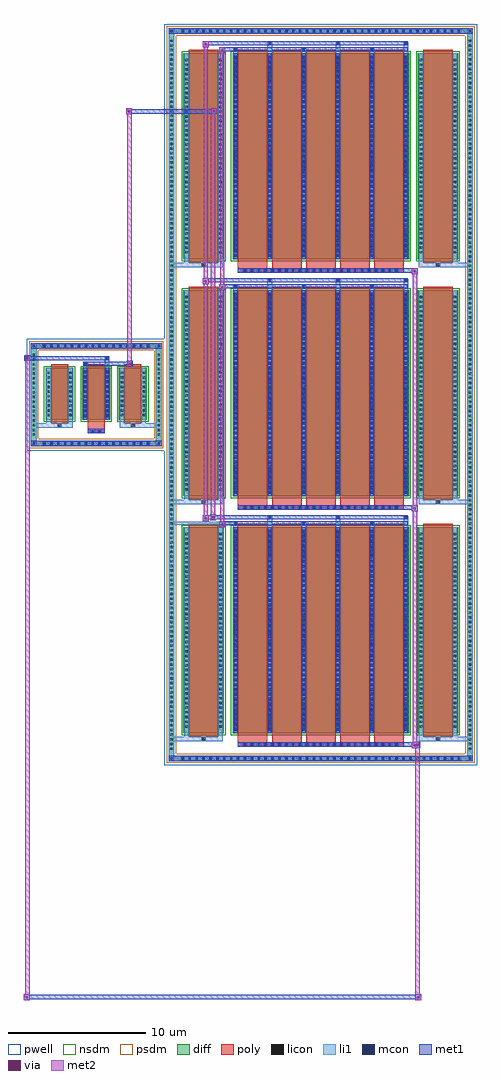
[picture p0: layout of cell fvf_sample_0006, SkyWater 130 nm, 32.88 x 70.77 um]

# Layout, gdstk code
import gdstk
lib = gdstk.Library(unit=1e-6, precision=1e-09)
def R(c, l, rs):  # rectangles x0, y0, x1, y1
    for r in rs: c.add(gdstk.rectangle(r[:2], r[2:], *l))
def A(c, l, x, y, w, h, nx, ny, dx, dy):  # array of equal rectangles
    R(c, l, [(x+i*dx, y+j*dy, x+i*dx+w, y+j*dy+h) for i in range(nx) for j in range(ny)])
def P(c, l, *ps):  # polygons
    for p in ps: c.add(gdstk.Polygon(p, *l))
pwell = (64, 44)
diff = (65, 20)
poly = (66, 20)
licon = (66, 44)
li1 = (67, 20)
mcon = (67, 44)
met1 = (68, 20)
via = (68, 44)
met2 = (69, 20)
nsdm = (93, 44)
psdm = (94, 20)

fvf_sample_0006 = lib.new_cell('fvf_sample_0006')
R(fvf_sample_0006, pwell, [(4.947,-26.883,27.627,26.883), (-5.047,-4.058,5.047,4.058)])
A(fvf_sample_0006, diff, 6.082, -26.573, 0.41, 0.41, 41, 2, 0.5, 52.736)
A(fvf_sample_0006, diff, 5.257, -25.875, 0.41, 0.41, 1, 152, 0, 0.34)
A(fvf_sample_0006, diff, 26.907, -25.875, 0.41, 0.41, 1, 152, 0, 0.34)
A(fvf_sample_0006, diff, 6.327, -24.551, 2.92, 14.942, 1, 3, 0, 17.188)
A(fvf_sample_0006, diff, 9.887, -24.551, 12.8, 14.942, 1, 3, 0, 17.188)
A(fvf_sample_0006, diff, 23.327, -24.551, 2.92, 14.942, 1, 3, 0, 17.188)
A(fvf_sample_0006, diff, -3.955, -3.748, 0.41, 0.41, 16, 2, 0.5, 7.086)
A(fvf_sample_0006, diff, -4.737, -3.095, 0.41, 0.41, 1, 18, 0, 0.34)
A(fvf_sample_0006, diff, 4.327, -3.095, 0.41, 0.41, 1, 18, 0, 0.34)
A(fvf_sample_0006, diff, -3.667, -1.827, 2.018, 3.77, 3, 1, 2.658, 0)
R(fvf_sample_0006, diff, [(6.082,-26.573,26.492,-26.163), (5.257,-25.875,5.667,25.875), (26.907,-25.875,27.317,25.875), (-3.955,-3.748,3.955,-3.338), (-4.737,-3.095,-4.327,3.095), (4.327,-3.095,4.737,3.095), (-3.955,3.338,3.955,3.748), (6.082,26.163,26.492,26.573)])
P(fvf_sample_0006, diff, [(4.737,3.748),(-4.737,3.748),(-4.737,-3.338),(-4.327,-3.338),(-4.327,3.338),(4.327,3.338),(4.327,-3.338),(-4.327,-3.338),(-4.737,-3.338),(-4.737,-3.748),(4.737,-3.748)],
  [(27.317,26.573),(5.257,26.573),(5.257,-26.163),(5.667,-26.163),(5.667,26.163),(26.907,26.163),(26.907,-26.163),(5.667,-26.163),(5.257,-26.163),(5.257,-26.573),(27.317,-26.573)])
A(fvf_sample_0006, poly, 10.277, -25.532, 12.02, 0.33, 1, 3, 0, 17.188)
A(fvf_sample_0006, poly, 10.622, -25.532, 0.33, 0.33, 23, 3, 0.5, 17.188)
A(fvf_sample_0006, poly, 10.277, -25.202, 2.14, 0.401, 5, 3, 2.47, 17.188)
A(fvf_sample_0006, poly, 6.717, -24.801, 2.14, 15.442, 1, 3, 0, 17.188)
A(fvf_sample_0006, poly, 10.277, -24.801, 2.14, 15.442, 5, 3, 2.47, 17.188)
A(fvf_sample_0006, poly, 23.717, -24.801, 2.14, 15.442, 1, 3, 0, 17.188)
A(fvf_sample_0006, poly, -3.277, -2.077, 1.238, 4.27, 3, 1, 2.658, 0)
R(fvf_sample_0006, poly, [(7.622,-25.131,7.952,-24.801), (7.622,-25.131,7.952,-24.801), (24.622,-25.131,24.952,-24.801), (24.622,-25.131,24.952,-24.801), (7.622,-7.943,7.952,-7.613), (7.622,-7.943,7.952,-7.613), (24.622,-7.943,24.952,-7.613), (24.622,-7.943,24.952,-7.613), (-0.619,-2.808,0.619,-2.478), (-0.415,-2.808,-0.085,-2.478), (0.085,-2.808,0.415,-2.478), (-0.619,-2.478,0.619,-2.077), (-2.823,-2.407,-2.493,-2.077), (-2.823,-2.407,-2.493,-2.077), (2.493,-2.407,2.823,-2.077), (2.493,-2.407,2.823,-2.077), (7.622,9.245,7.952,9.575), (7.622,9.245,7.952,9.575), (24.622,9.245,24.952,9.575), (24.622,9.245,24.952,9.575)])
A(fvf_sample_0006, licon, 6.202, -26.453, 0.17, 0.17, 41, 2, 0.5, 52.736)
A(fvf_sample_0006, licon, 5.377, -25.755, 0.17, 0.17, 1, 152, 0, 0.34)
A(fvf_sample_0006, licon, 27.027, -25.755, 0.17, 0.17, 1, 152, 0, 0.34)
A(fvf_sample_0006, licon, 10.702, -25.452, 0.17, 0.17, 23, 3, 0.5, 17.188)
A(fvf_sample_0006, licon, 7.702, -25.051, 0.17, 0.17, 1, 3, 0, 17.188)
A(fvf_sample_0006, licon, 24.702, -25.051, 0.17, 0.17, 1, 3, 0, 17.188)
A(fvf_sample_0006, licon, 6.467, -24.135, 0.17, 0.17, 1, 42, 0, 0.34)
A(fvf_sample_0006, licon, 8.937, -24.135, 0.17, 0.17, 1, 42, 0, 0.34)
A(fvf_sample_0006, licon, 10.027, -24.135, 0.17, 0.17, 6, 42, 2.47, 0.34)
A(fvf_sample_0006, licon, 23.467, -24.135, 0.17, 0.17, 1, 42, 0, 0.34)
A(fvf_sample_0006, licon, 25.937, -24.135, 0.17, 0.17, 1, 42, 0, 0.34)
A(fvf_sample_0006, licon, 6.467, -6.947, 0.17, 0.17, 1, 42, 0, 0.34)
A(fvf_sample_0006, licon, 8.937, -6.947, 0.17, 0.17, 1, 42, 0, 0.34)
A(fvf_sample_0006, licon, 10.027, -6.947, 0.17, 0.17, 6, 42, 2.47, 0.34)
A(fvf_sample_0006, licon, 23.467, -6.947, 0.17, 0.17, 1, 42, 0, 0.34)
A(fvf_sample_0006, licon, 25.937, -6.947, 0.17, 0.17, 1, 42, 0, 0.34)
A(fvf_sample_0006, licon, -3.835, -3.628, 0.17, 0.17, 16, 2, 0.5, 7.086)
A(fvf_sample_0006, licon, -4.617, -2.975, 0.17, 0.17, 1, 18, 0, 0.34)
A(fvf_sample_0006, licon, 4.447, -2.975, 0.17, 0.17, 1, 18, 0, 0.34)
A(fvf_sample_0006, licon, -3.527, -1.557, 0.17, 0.17, 1, 10, 0, 0.34)
A(fvf_sample_0006, licon, -1.959, -1.557, 0.17, 0.17, 1, 10, 0, 0.34)
A(fvf_sample_0006, licon, -0.869, -1.557, 0.17, 0.17, 1, 10, 0, 0.34)
A(fvf_sample_0006, licon, 0.699, -1.557, 0.17, 0.17, 1, 10, 0, 0.34)
A(fvf_sample_0006, licon, 1.789, -1.557, 0.17, 0.17, 1, 10, 0, 0.34)
A(fvf_sample_0006, licon, 3.357, -1.557, 0.17, 0.17, 1, 10, 0, 0.34)
A(fvf_sample_0006, licon, 6.467, 10.241, 0.17, 0.17, 1, 42, 0, 0.34)
A(fvf_sample_0006, licon, 8.937, 10.241, 0.17, 0.17, 1, 42, 0, 0.34)
A(fvf_sample_0006, licon, 10.027, 10.241, 0.17, 0.17, 6, 42, 2.47, 0.34)
A(fvf_sample_0006, licon, 23.467, 10.241, 0.17, 0.17, 1, 42, 0, 0.34)
A(fvf_sample_0006, licon, 25.937, 10.241, 0.17, 0.17, 1, 42, 0, 0.34)
R(fvf_sample_0006, licon, [(-0.335,-2.728,-0.165,-2.558), (0.165,-2.728,0.335,-2.558), (-2.743,-2.327,-2.573,-2.157), (2.573,-2.327,2.743,-2.157)])
A(fvf_sample_0006, li1, 6.122, -26.533, 0.33, 0.33, 41, 2, 0.5, 52.736)
A(fvf_sample_0006, li1, 5.297, -25.835, 0.33, 0.33, 1, 152, 0, 0.34)
A(fvf_sample_0006, li1, 26.947, -25.835, 0.33, 0.33, 1, 152, 0, 0.34)
A(fvf_sample_0006, li1, 10.622, -25.532, 0.33, 0.33, 23, 3, 0.5, 17.188)
A(fvf_sample_0006, li1, 5.257, -25.131, 2.365, 0.33, 1, 3, 0, 17.188)
A(fvf_sample_0006, li1, 6.387, -25.131, 0.33, 0.58, 1, 3, 0, 17.188)
A(fvf_sample_0006, li1, 6.387, -25.131, 1.235, 0.33, 1, 3, 0, 17.188)
A(fvf_sample_0006, li1, 7.622, -25.131, 0.33, 0.33, 1, 3, 0, 17.188)
A(fvf_sample_0006, li1, 7.952, -25.131, 1.235, 0.33, 1, 3, 0, 17.188)
A(fvf_sample_0006, li1, 8.857, -25.131, 0.33, 0.58, 1, 3, 0, 17.188)
A(fvf_sample_0006, li1, 23.387, -25.131, 0.33, 0.58, 1, 3, 0, 17.188)
A(fvf_sample_0006, li1, 23.387, -25.131, 1.235, 0.33, 1, 3, 0, 17.188)
A(fvf_sample_0006, li1, 24.622, -25.131, 0.33, 0.33, 1, 3, 0, 17.188)
A(fvf_sample_0006, li1, 24.622, -25.131, 2.695, 0.33, 1, 3, 0, 17.188)
A(fvf_sample_0006, li1, 24.952, -25.131, 1.235, 0.33, 1, 3, 0, 17.188)
A(fvf_sample_0006, li1, 25.857, -25.131, 0.33, 0.58, 1, 3, 0, 17.188)
A(fvf_sample_0006, li1, 6.387, -24.551, 0.33, 14.942, 1, 3, 0, 17.188)
A(fvf_sample_0006, li1, 8.857, -24.551, 0.33, 14.942, 1, 3, 0, 17.188)
A(fvf_sample_0006, li1, 9.947, -24.551, 0.33, 14.942, 6, 3, 2.47, 17.188)
A(fvf_sample_0006, li1, 23.387, -24.551, 0.33, 14.942, 1, 3, 0, 17.188)
A(fvf_sample_0006, li1, 25.857, -24.551, 0.33, 14.942, 1, 3, 0, 17.188)
A(fvf_sample_0006, li1, 10.027, -24.365, 0.17, 0.17, 6, 41, 2.47, 0.36)
A(fvf_sample_0006, li1, 10.027, -24.365, 0.17, 14.57, 6, 3, 2.47, 17.188)
A(fvf_sample_0006, li1, 6.387, -24.215, 0.33, 0.33, 1, 42, 0, 0.34)
A(fvf_sample_0006, li1, 8.857, -24.215, 0.33, 0.33, 1, 42, 0, 0.34)
A(fvf_sample_0006, li1, 9.947, -24.215, 0.33, 0.33, 6, 42, 2.47, 0.34)
A(fvf_sample_0006, li1, 23.387, -24.215, 0.33, 0.33, 1, 42, 0, 0.34)
A(fvf_sample_0006, li1, 25.857, -24.215, 0.33, 0.33, 1, 42, 0, 0.34)
A(fvf_sample_0006, li1, 9.947, -9.609, 0.33, 0.375, 3, 3, 4.94, 17.188)
A(fvf_sample_0006, li1, 12.417, -9.609, 0.33, 0.805, 3, 3, 4.94, 17.188)
A(fvf_sample_0006, li1, 10.027, -9.404, 0.17, 0.17, 3, 3, 4.94, 17.188)
A(fvf_sample_0006, li1, 12.497, -8.974, 0.17, 0.17, 3, 3, 4.94, 17.188)
A(fvf_sample_0006, li1, 10.027, -7.177, 0.17, 0.17, 6, 41, 2.47, 0.36)
A(fvf_sample_0006, li1, 6.387, -7.027, 0.33, 0.33, 1, 42, 0, 0.34)
A(fvf_sample_0006, li1, 8.857, -7.027, 0.33, 0.33, 1, 42, 0, 0.34)
A(fvf_sample_0006, li1, 9.947, -7.027, 0.33, 0.33, 6, 42, 2.47, 0.34)
A(fvf_sample_0006, li1, 23.387, -7.027, 0.33, 0.33, 1, 42, 0, 0.34)
A(fvf_sample_0006, li1, 25.857, -7.027, 0.33, 0.33, 1, 42, 0, 0.34)
A(fvf_sample_0006, li1, -3.915, -3.708, 0.33, 0.33, 16, 2, 0.5, 7.086)
A(fvf_sample_0006, li1, -4.697, -3.055, 0.33, 0.33, 1, 18, 0, 0.34)
A(fvf_sample_0006, li1, 4.367, -3.055, 0.33, 0.33, 1, 18, 0, 0.34)
A(fvf_sample_0006, li1, -0.869, -1.647, 0.17, 0.17, 1, 10, 0, 0.36)
A(fvf_sample_0006, li1, 0.699, -1.647, 0.17, 0.17, 1, 10, 0, 0.36)
A(fvf_sample_0006, li1, -3.607, -1.637, 0.33, 0.33, 1, 10, 0, 0.34)
A(fvf_sample_0006, li1, -2.039, -1.637, 0.33, 0.33, 1, 10, 0, 0.34)
A(fvf_sample_0006, li1, -0.949, -1.637, 0.33, 0.33, 1, 10, 0, 0.34)
A(fvf_sample_0006, li1, 0.619, -1.637, 0.33, 0.33, 1, 10, 0, 0.34)
A(fvf_sample_0006, li1, 1.709, -1.637, 0.33, 0.33, 1, 10, 0, 0.34)
A(fvf_sample_0006, li1, 3.277, -1.637, 0.33, 0.33, 1, 10, 0, 0.34)
A(fvf_sample_0006, li1, 10.027, 10.011, 0.17, 0.17, 6, 41, 2.47, 0.36)
A(fvf_sample_0006, li1, 6.387, 10.161, 0.33, 0.33, 1, 42, 0, 0.34)
A(fvf_sample_0006, li1, 8.857, 10.161, 0.33, 0.33, 1, 42, 0, 0.34)
A(fvf_sample_0006, li1, 9.947, 10.161, 0.33, 0.33, 6, 42, 2.47, 0.34)
A(fvf_sample_0006, li1, 23.387, 10.161, 0.33, 0.33, 1, 42, 0, 0.34)
A(fvf_sample_0006, li1, 25.857, 10.161, 0.33, 0.33, 1, 42, 0, 0.34)
R(fvf_sample_0006, li1, [(5.257,-26.573,5.667,-26.163), (26.907,-26.573,27.317,-26.163), (6.122,-26.533,26.452,-26.203), (5.377,-26.453,5.547,-26.283), (5.377,-26.453,5.547,-26.283), (27.027,-26.453,27.197,-26.283), (27.027,-26.453,27.197,-26.283), (5.257,-26.163,5.667,26.163), (26.907,-26.163,27.317,26.163), (9.967,-9.464,10.257,-9.174), (5.257,-9.419,9.967,-9.219), (10.027,-9.404,10.197,-9.234), (-4.737,-3.748,-4.327,-3.338), (4.327,-3.748,4.737,-3.338), (-3.915,-3.708,3.915,-3.378), (-4.617,-3.628,-4.447,-3.458), (-4.617,-3.628,-4.447,-3.458), (4.447,-3.628,4.617,-3.458), (4.447,-3.628,4.617,-3.458), (-4.737,-3.338,-4.327,3.338), (4.327,-3.338,4.737,3.338), (-0.415,-2.808,-0.085,-2.478), (0.085,-2.808,0.415,-2.478), (-4.737,-2.407,-2.823,-2.077), (-3.607,-2.407,-2.823,-2.077), (-3.607,-2.407,-3.277,-1.827), (-2.823,-2.407,-2.493,-2.077), (-2.493,-2.407,-1.709,-2.077), (-2.039,-2.407,-1.709,-1.827), (1.709,-2.407,2.493,-2.077), (1.709,-2.407,2.039,-1.827), (2.493,-2.407,2.823,-2.077), (2.493,-2.407,4.737,-2.077), (2.823,-2.407,3.607,-2.077), (3.277,-2.407,3.607,-1.827), (-3.607,-1.827,-3.277,1.943), (-2.039,-1.827,-1.709,1.943), (-0.949,-1.827,-0.619,1.943), (0.619,-1.827,0.949,1.943), (1.709,-1.827,2.039,1.943), (3.277,-1.827,3.607,1.943), (-0.869,-1.647,-0.699,1.763), (0.699,-1.647,0.869,1.763), (-0.949,1.943,-0.619,2.318), (0.619,1.943,0.949,2.748), (-0.869,2.148,-0.699,2.318), (0.699,2.578,0.869,2.748), (-4.737,3.338,-4.327,3.748), (4.327,3.338,4.737,3.748), (-3.915,3.378,3.915,3.708), (-4.617,3.458,-4.447,3.628), (-4.617,3.458,-4.447,3.628), (4.447,3.458,4.617,3.628), (4.447,3.458,4.617,3.628), (5.257,26.163,5.667,26.573), (26.907,26.163,27.317,26.573), (6.122,26.203,26.452,26.533), (5.377,26.283,5.547,26.453), (5.377,26.283,5.547,26.453), (27.027,26.283,27.197,26.453), (27.027,26.283,27.197,26.453)])
A(fvf_sample_0006, mcon, 6.202, -26.453, 0.17, 0.17, 41, 2, 0.5, 52.736)
A(fvf_sample_0006, mcon, 10.702, -25.452, 0.17, 0.17, 23, 3, 0.5, 17.188)
A(fvf_sample_0006, mcon, 10.027, -24.365, 0.17, 0.17, 6, 41, 2.47, 0.36)
A(fvf_sample_0006, mcon, 10.027, -9.404, 0.17, 0.17, 3, 3, 4.94, 17.188)
A(fvf_sample_0006, mcon, 12.497, -8.974, 0.17, 0.17, 3, 3, 4.94, 17.188)
A(fvf_sample_0006, mcon, 10.027, -7.177, 0.17, 0.17, 6, 41, 2.47, 0.36)
A(fvf_sample_0006, mcon, -3.835, -3.628, 0.17, 0.17, 16, 2, 0.5, 7.086)
A(fvf_sample_0006, mcon, -0.869, -1.647, 0.17, 0.17, 1, 10, 0, 0.36)
A(fvf_sample_0006, mcon, 0.699, -1.647, 0.17, 0.17, 1, 10, 0, 0.36)
A(fvf_sample_0006, mcon, 10.027, 10.011, 0.17, 0.17, 6, 41, 2.47, 0.36)
R(fvf_sample_0006, mcon, [(5.377,-26.453,5.547,-26.283), (27.027,-26.453,27.197,-26.283), (10.027,-9.404,10.197,-9.234), (-4.617,-3.628,-4.447,-3.458), (4.447,-3.628,4.617,-3.458), (-0.335,-2.728,-0.165,-2.558), (0.165,-2.728,0.335,-2.558), (-0.869,2.148,-0.699,2.318), (0.699,2.578,0.869,2.748), (-4.617,3.458,-4.447,3.628), (4.447,3.458,4.617,3.628), (5.377,26.283,5.547,26.453), (27.027,26.283,27.197,26.453)])
A(fvf_sample_0006, met1, 6.142, -26.513, 0.29, 0.29, 41, 2, 0.5, 52.736)
A(fvf_sample_0006, met1, 10.277, -25.532, 12.02, 0.33, 1, 3, 0, 17.188)
A(fvf_sample_0006, met1, 10.642, -25.512, 0.29, 0.29, 23, 3, 0.5, 17.188)
A(fvf_sample_0006, met1, 9.967, -24.551, 0.29, 14.942, 6, 3, 2.47, 17.188)
A(fvf_sample_0006, met1, 9.967, -24.425, 0.29, 0.29, 6, 41, 2.47, 0.36)
A(fvf_sample_0006, met1, 9.967, -9.464, 0.29, 0.29, 3, 3, 4.94, 17.188)
A(fvf_sample_0006, met1, 12.437, -9.034, 0.29, 0.29, 3, 3, 4.94, 17.188)
A(fvf_sample_0006, met1, 9.967, -7.237, 0.29, 0.29, 6, 41, 2.47, 0.36)
A(fvf_sample_0006, met1, -3.895, -3.688, 0.29, 0.29, 16, 2, 0.5, 7.086)
A(fvf_sample_0006, met1, -0.929, -1.707, 0.29, 0.29, 1, 10, 0, 0.36)
A(fvf_sample_0006, met1, 0.639, -1.707, 0.29, 0.29, 1, 10, 0, 0.36)
A(fvf_sample_0006, met1, 9.967, 9.951, 0.29, 0.29, 6, 41, 2.47, 0.36)
R(fvf_sample_0006, met1, [(-5.252,-43.891,-4.822,-43.461), (23.132,-43.891,23.562,-43.461), (-5.252,-43.841,23.562,-43.511), (-5.252,-43.511,-4.822,-43.461), (23.132,-43.511,23.562,-43.461), (5.257,-26.573,5.667,-26.163), (5.257,-26.573,5.667,-26.163), (5.667,-26.573,26.907,-26.163), (26.907,-26.573,27.317,-26.163), (26.907,-26.573,27.317,-26.163), (5.317,-26.513,5.607,-26.223), (26.967,-26.513,27.257,-26.223), (22.897,-25.632,23.327,-25.202), (23.082,-25.582,23.512,-25.152), (22.297,-25.532,23.082,-25.202), (22.297,-25.532,23.327,-25.202), (8.937,-9.604,9.367,-9.174), (8.937,-9.464,9.967,-9.174), (9.967,-9.464,10.257,-9.174), (9.967,-9.464,22.607,-9.174), (7.737,-9.174,8.167,-8.744), (8.252,-9.104,8.682,-8.674), (7.737,-9.034,9.967,-8.744), (8.682,-9.034,9.967,-8.744), (9.967,-9.034,22.607,-8.744), (22.897,-8.444,23.327,-8.014), (22.897,-8.444,23.327,-8.014), (22.297,-8.344,23.327,-8.014), (22.297,-8.344,23.327,-8.014), (-4.737,-3.748,-4.327,-3.338), (-4.737,-3.748,-4.327,-3.338), (-4.327,-3.748,4.327,-3.338), (4.327,-3.748,4.737,-3.338), (4.327,-3.748,4.737,-3.338), (-4.677,-3.688,-4.387,-3.398), (4.387,-3.688,4.677,-3.398), (-0.619,-2.808,0.619,-2.478), (-0.395,-2.788,-0.105,-2.498), (0.105,-2.788,0.395,-2.498), (-0.929,-1.827,-0.639,1.943), (0.639,-1.827,0.929,1.943), (2.214,2.018,2.644,2.448), (-0.929,2.088,-0.639,2.378), (-0.929,2.088,0.929,2.378), (0.929,2.088,2.214,2.378), (-5.202,2.448,-4.772,2.878), (-4.772,2.518,-0.929,2.808), (-0.929,2.518,0.929,2.808), (0.639,2.518,0.929,2.808), (-4.737,3.338,-4.327,3.748), (-4.737,3.338,-4.327,3.748), (-4.327,3.338,4.327,3.748), (4.327,3.338,4.737,3.748), (4.327,3.338,4.737,3.748), (-4.677,3.398,-4.387,3.688), (4.387,3.398,4.677,3.688), (8.937,7.584,9.367,8.014), (8.937,7.584,9.367,8.014), (8.937,7.724,9.967,8.014), (8.937,7.724,9.967,8.014), (9.967,7.724,22.607,8.014), (7.737,8.014,8.167,8.444), (7.737,8.014,8.167,8.444), (7.737,8.154,9.967,8.444), (7.737,8.154,9.967,8.444), (9.967,8.154,22.607,8.444), (22.897,8.744,23.327,9.174), (22.297,8.844,23.327,9.174), (2.164,20.327,2.594,20.757), (8.302,20.327,8.732,20.757), (2.164,20.377,8.732,20.707), (2.164,20.707,2.594,20.757), (8.302,20.707,8.732,20.757), (8.937,24.772,9.367,25.202), (8.937,24.912,9.967,25.202), (9.967,24.912,22.607,25.202), (7.737,25.202,8.167,25.632), (7.737,25.342,9.967,25.632), (9.967,25.342,22.607,25.632), (5.257,26.163,5.667,26.573), (5.257,26.163,5.667,26.573), (5.667,26.163,26.907,26.573), (26.907,26.163,27.317,26.573), (26.907,26.163,27.317,26.573), (5.317,26.223,5.607,26.513), (26.967,26.223,27.257,26.513)])
R(fvf_sample_0006, via, [(-5.112,-43.751,-4.962,-43.601), (23.272,-43.751,23.422,-43.601), (23.037,-25.492,23.187,-25.342), (23.222,-25.442,23.372,-25.292), (9.077,-9.464,9.227,-9.314), (7.877,-9.034,8.027,-8.884), (8.392,-8.964,8.542,-8.814), (23.037,-8.304,23.187,-8.154), (23.037,-8.304,23.187,-8.154), (2.354,2.158,2.504,2.308), (-5.062,2.588,-4.912,2.738), (9.077,7.724,9.227,7.874), (9.077,7.724,9.227,7.874), (7.877,8.154,8.027,8.304), (7.877,8.154,8.027,8.304), (23.037,8.884,23.187,9.034), (2.304,20.467,2.454,20.617), (8.442,20.467,8.592,20.617), (9.077,24.912,9.227,25.062), (7.877,25.342,8.027,25.492)])
R(fvf_sample_0006, met2, [(-5.252,-43.891,-4.822,-43.461), (-5.152,-43.891,-4.822,2.498), (23.132,-43.891,23.562,-43.461), (23.132,-43.891,23.462,-25.532), (-5.202,-43.841,-4.872,-43.511), (23.182,-43.841,23.512,-43.511), (22.897,-25.632,23.327,-25.202), (22.947,-25.632,23.277,-8.014), (23.277,-25.632,23.327,-25.202), (22.947,-25.582,23.277,-25.252), (23.132,-25.532,23.462,-25.202), (8.937,-9.604,9.367,-9.174), (9.007,-9.604,9.297,8.014), (9.297,-9.604,9.367,-9.174), (8.987,-9.554,9.317,-9.224), (7.737,-9.174,8.167,-8.744), (7.807,-9.174,8.097,8.444), (8.097,-9.174,8.167,-8.744), (7.787,-9.124,8.117,-8.794), (8.302,-9.054,8.632,-8.724), (8.302,-8.724,8.632,20.757), (22.897,-8.444,23.327,-8.014), (22.897,-8.444,23.327,-8.014), (22.947,-8.444,23.277,9.174), (23.277,-8.444,23.327,-8.014), (23.277,-8.444,23.327,-8.014), (22.947,-8.394,23.277,-8.064), (22.947,-8.394,23.277,-8.064), (2.264,2.068,2.594,2.398), (2.264,2.398,2.594,20.757), (-5.152,2.498,-4.822,2.828), (8.937,7.584,9.367,8.014), (8.937,7.584,9.367,8.014), (9.007,7.584,9.297,25.202), (9.297,7.584,9.367,8.014), (9.297,7.584,9.367,8.014), (8.987,7.634,9.317,7.964), (8.987,7.634,9.317,7.964), (7.737,8.014,8.167,8.444), (7.737,8.014,8.167,8.444), (7.807,8.014,8.097,25.632), (8.097,8.014,8.167,8.444), (8.097,8.014,8.167,8.444), (7.787,8.064,8.117,8.394), (7.787,8.064,8.117,8.394), (22.897,8.744,23.327,9.174), (23.277,8.744,23.327,9.174), (22.947,8.794,23.277,9.124), (2.164,20.327,2.594,20.757), (8.302,20.327,8.732,20.757), (2.214,20.377,2.544,20.707), (8.352,20.377,8.682,20.707), (8.937,24.772,9.367,25.202), (9.297,24.772,9.367,25.202), (8.987,24.822,9.317,25.152), (7.737,25.202,8.167,25.632), (8.097,25.202,8.167,25.632), (7.787,25.252,8.117,25.582)])
A(fvf_sample_0006, nsdm, 6.197, -24.681, 3.18, 15.202, 1, 3, 0, 17.188)
A(fvf_sample_0006, nsdm, 9.757, -24.681, 13.06, 15.202, 1, 3, 0, 17.188)
A(fvf_sample_0006, nsdm, 23.197, -24.681, 3.18, 15.202, 1, 3, 0, 17.188)
A(fvf_sample_0006, nsdm, -3.797, -1.957, 2.278, 4.03, 3, 1, 2.658, 0)
P(fvf_sample_0006, psdm, [(4.867,3.878),(-4.867,3.878),(-4.867,-3.208),(-4.197,-3.208),(-4.197,3.208),(4.197,3.208),(4.197,-3.208),(-4.197,-3.208),(-4.867,-3.208),(-4.867,-3.878),(4.867,-3.878)],
  [(27.447,26.703),(5.127,26.703),(5.127,-26.033),(5.797,-26.033),(5.797,26.033),(26.777,26.033),(26.777,-26.033),(5.797,-26.033),(5.127,-26.033),(5.127,-26.703),(27.447,-26.703)])

lib.write_gds('fvf_sample_0006.gds')
